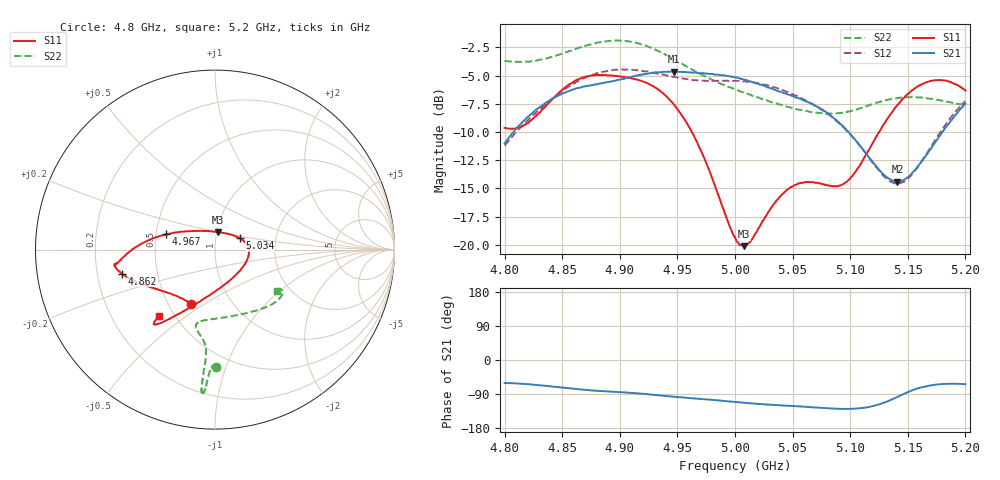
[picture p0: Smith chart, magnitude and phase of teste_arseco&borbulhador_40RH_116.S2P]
! Network Analyzer HP8722D
! Hewlett-Packard
! Data name: Linha & Wilkinson
! Saver's name: Rodrigo Anjos
! Comments: Teste da utilização de aquisição
! continua pelo VNA HP8722D
! Time and date: 15/4/2025 17:19
!  Frequency  S11  S21  S12  S22
# HZ  S  MA R 50
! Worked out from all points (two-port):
!   401 points, 4.8 GHz to 5.2 GHz, reference 50 ohm
!   highest |S21| = -4.64 dB at 4.947 GHz (marker M1); lowest = -14.4 dB at 5.141 GHz (marker M2)
!   |S21| within 3 dB of the highest: 4.833 GHz to 5.069 GHz (236.4 MHz wide, 4.78 % of centre); 5.198608 GHz to end of sweep
!   lowest |S11| = -20.1 dB at 5.008 GHz (marker M3), VSWR 1.22, Z = 50.6 + j9.96 ohm
!   |S11| at or under -10 dB: 4.962 GHz to 5.125 GHz (162.6 MHz wide, 3.22 % of centre)
!   |S22| runs from -8.4 to -1.9 dB; largest |S21 - S12| = 0.88
!   S11 on the Smith chart (normalised r, x): 4.8 GHz: 0.65, -0.44; 4.862 GHz: 0.31, -0.12; 4.967 GHz: 0.56, +0.10; 5.034 GHz: 1.31, +0.17; 5.2 GHz: 0.41, -0.40
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4.8e9  0.33 -113.5  0.2815 -60.8  0.2753 -174.9  0.654 -89.4
4.819e9  0.3446 -133.4  0.3646 -63.6  0.3525 -173.2  0.6486 -91.1
4.84e9  0.4341 -152.6  0.4387 -69.4  0.4385 -173.5  0.6786 -92.5
4.862e9  0.5358 -165.5  0.494 -76.6  0.5262 -176.2  0.7403 -93.4
4.867e9  0.5491 -167.4  0.5011 -78.2  0.5414 -177.1  0.7531 -93.6
4.9e9  0.5579 -171.9  0.5397 -84.7  0.5963 176.0  0.8039 -95.1
4.934e9  0.486 -177.8  0.5811 -93.2  0.5734 172.2  0.7203 -95.5
4.947e9  0.4185 176.1  0.586 -96.8  0.5549 172.2  0.6662 -95.1
4.967e9  0.2857 162.7  0.5778 -102.0  0.5361 174.2  0.5813 -94.9
5e9  0.1082 107.7  0.5522 -110.7  0.5333 176.5  0.4878 -99.4
5.008e9  0.09872 80.8  0.5403 -113.0  0.532 176.5  0.4731 -101.0
5.014e9  0.1049 61.9  0.5291 -114.5  0.5265 176.3  0.4609 -102.5
5.034e9  0.1521 24.5  0.4881 -118.7  0.4995 175.4  0.4258 -103.9
5.05e9  0.1815 7.5  0.4574 -121.4  0.4648 174.6  0.4047 -100.3
5.067e9  0.1896 -10.8  0.4223 -124.7  0.4216 174.1  0.3865 -92.0
5.087e9  0.1819 -43.3  0.3596 -128.5  0.3579 173.8  0.3824 -76.9
5.098e9  0.1931 -66.7  0.3188 -128.9  0.3178 174.6  0.3897 -67.7
5.134e9  0.3732 -115.8  0.1957 -106.9  0.1918 -159.9  0.4415 -43.4
5.141e9  0.416 -119.9  0.1904 -97.3  0.187 -148.8  0.4473 -40.2
5.152e9  0.4759 -124.3  0.2037 -82.1  0.2007 -131.4  0.4512 -36.2
5.171e9  0.5337 -128.6  0.2719 -66.5  0.2768 -112.3  0.4431 -31.7
5.2e9  0.4827 -130.2  0.4222 -64.0  0.434 -105.9  0.4153 -33.4
